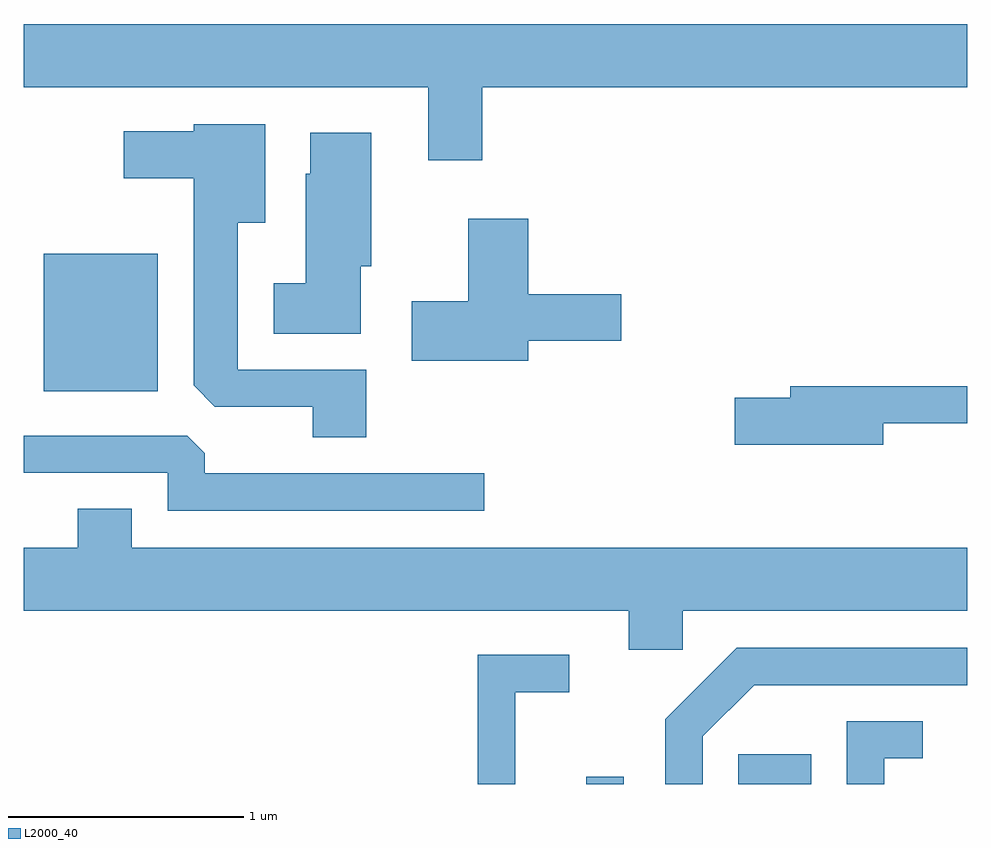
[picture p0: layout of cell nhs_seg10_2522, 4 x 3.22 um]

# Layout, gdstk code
import gdstk
lib = gdstk.Library(unit=1e-6, precision=1e-09)
def R(c, l, rs):  # rectangles x0, y0, x1, y1
    for r in rs: c.add(gdstk.rectangle(r[:2], r[2:], *l))
def P(c, l, *ps):  # polygons
    for p in ps: c.add(gdstk.Polygon(p, *l))
L2000_40 = (2000, 40)

nhs_seg10_2522 = lib.new_cell('nhs_seg10_2522')
R(nhs_seg10_2522, L2000_40, [(261.996,2106.522,262.154,2106.553), (262.641,2106.522,262.949,2106.649), (259.696,2108.186,260.179,2108.769)])
P(nhs_seg10_2522, L2000_40, [(261.554,2109.476),(263.611,2109.476),(263.611,2109.744),(259.611,2109.744),(259.611,2109.476),(261.326,2109.476),(261.326,2109.166),(261.554,2109.166)],
  [(261.064,2108.279),(260.519,2108.279),(260.519,2108.901),(260.634,2108.901),(260.634,2109.319),(260.331,2109.319),(260.331,2109.289),(260.036,2109.289),(260.036,2109.091),(260.331,2109.091),(260.331,2108.212),(260.421,2108.121),(260.836,2108.121),(260.836,2107.991),(261.064,2107.991)],
  [(261.039,2108.716),(261.084,2108.716),(261.084,2109.284),(260.826,2109.284),(260.826,2109.109),(260.806,2109.109),(260.806,2108.644),(260.671,2108.644),(260.671,2108.431),(261.039,2108.431)],
  [(261.749,2108.401),(262.144,2108.401),(262.144,2108.599),(261.749,2108.599),(261.749,2108.919),(261.496,2108.919),(261.496,2108.569),(261.256,2108.569),(261.256,2108.316),(261.749,2108.316)],
  [(263.254,2108.051),(263.611,2108.051),(263.611,2108.209),(262.861,2108.209),(262.861,2108.159),(262.626,2108.159),(262.626,2107.961),(263.254,2107.961)],
  [(261.563,2107.839),(260.379,2107.839),(260.379,2107.924),(260.304,2107.999),(259.611,2107.999),(259.611,2107.841),(260.221,2107.841),(260.221,2107.681),(261.563,2107.681)],
  [(262.404,2107.256),(263.611,2107.256),(263.611,2107.524),(260.069,2107.524),(260.069,2107.689),(259.841,2107.689),(259.841,2107.524),(259.611,2107.524),(259.611,2107.256),(262.176,2107.256),(262.176,2107.091),(262.404,2107.091)],
  [(262.489,2106.724),(262.707,2106.941),(263.611,2106.941),(263.611,2107.099),(262.634,2107.099),(262.331,2106.797),(262.331,2106.522),(262.489,2106.522)],
  [(261.694,2106.911),(261.923,2106.911),(261.923,2107.069),(261.536,2107.069),(261.536,2106.522),(261.694,2106.522)],
  [(263.259,2106.631),(263.423,2106.631),(263.423,2106.789),(263.101,2106.789),(263.101,2106.522),(263.259,2106.522)])

lib.write_gds('nhs_seg10_2522.gds')
